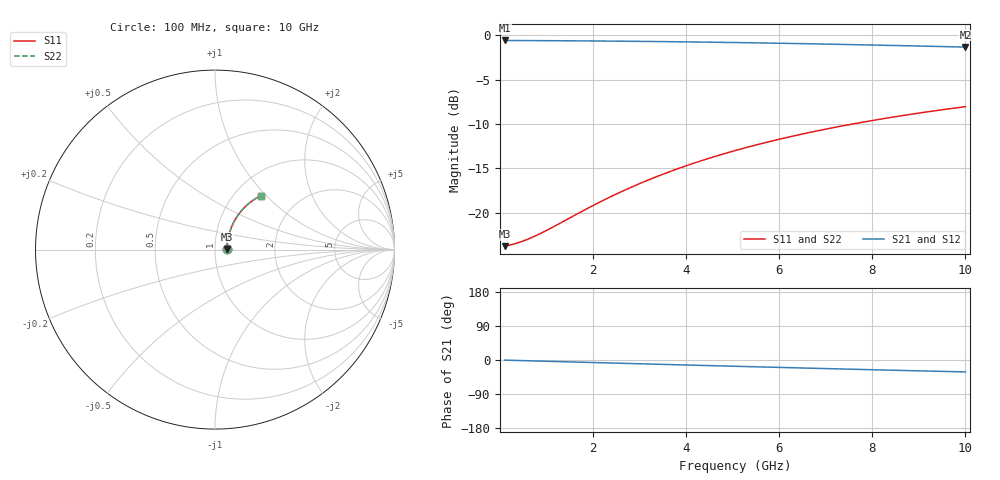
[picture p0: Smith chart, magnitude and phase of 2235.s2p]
# Hz S RI R 50.00
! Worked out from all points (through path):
!   100 points, 100 MHz to 10 GHz, reference 50 ohm
!   highest |S21| = -0.58 dB at 100 MHz (marker M1); lowest = -1.3 dB at 10 GHz (marker M2)
!   group delay of S21, straight-line fit = 8.77 ps
!   lowest |S11| = -23.8 dB at 100 MHz (marker M3), VSWR 1.14, Z = 56.9 + j0.457 ohm
!   |S11| at or under -10 dB: start of sweep to 7.582 GHz
!   |S22| runs from -23.8 to -8.0 dB; largest |S21 - S12| = 0
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1e8  0.0645 0.004  0.9355 -0.00545  0.9355 -0.00545  0.0645 0.004
3e8  0.0654 0.012  0.9346 -0.0163  0.9346 -0.0163  0.0654 0.012
4e8  0.0658 0.0159  0.9342 -0.0218  0.9342 -0.0218  0.0658 0.0159
5e8  0.0662 0.0199  0.9337 -0.0272  0.9337 -0.0272  0.0662 0.0199
7e8  0.0671 0.0278  0.9328 -0.038  0.9328 -0.038  0.0671 0.0278
9e8  0.0681 0.0357  0.9318 -0.0488  0.9318 -0.0488  0.0681 0.0357
1.1e9  0.0693 0.0436  0.9306 -0.0596  0.9306 -0.0596  0.0693 0.0436
1.8e9  0.0746 0.0708  0.925 -0.097  0.925 -0.097  0.0746 0.0708
2.2e9  0.0785 0.0861  0.9209 -0.1181  0.9209 -0.1181  0.0785 0.0861
2.6e9  0.0831 0.1011  0.9161 -0.139  0.9161 -0.139  0.0831 0.1011
3e9  0.0883 0.1159  0.9107 -0.1596  0.9107 -0.1596  0.0883 0.1159
3.4e9  0.0942 0.1303  0.9045 -0.1799  0.9045 -0.1799  0.0942 0.1303
3.8e9  0.1006 0.1444  0.8977 -0.1998  0.8977 -0.1998  0.1006 0.1444
4.2e9  0.1077 0.1581  0.8903 -0.2193  0.8903 -0.2193  0.1077 0.1581
4.6e9  0.1153 0.1714  0.8823 -0.2385  0.8823 -0.2385  0.1153 0.1714
5.1e9  0.1256 0.1874  0.8715 -0.2618  0.8715 -0.2618  0.1256 0.1874
5.9e9  0.1435 0.2114  0.8526 -0.2976  0.8526 -0.2976  0.1435 0.2114
6.7e9  0.1632 0.2335  0.8318 -0.3313  0.8318 -0.3313  0.1632 0.2335
7.5e9  0.1844 0.2534  0.8093 -0.363  0.8093 -0.363  0.1844 0.2534
8.4e9  0.2096 0.2731  0.7825 -0.3961  0.7825 -0.3961  0.2096 0.2731
9.2e9  0.2329 0.2883  0.7576 -0.4231  0.7576 -0.4231  0.2329 0.2883
1e10  0.2569 0.3013  0.7319 -0.448  0.7319 -0.448  0.2569 0.3013
